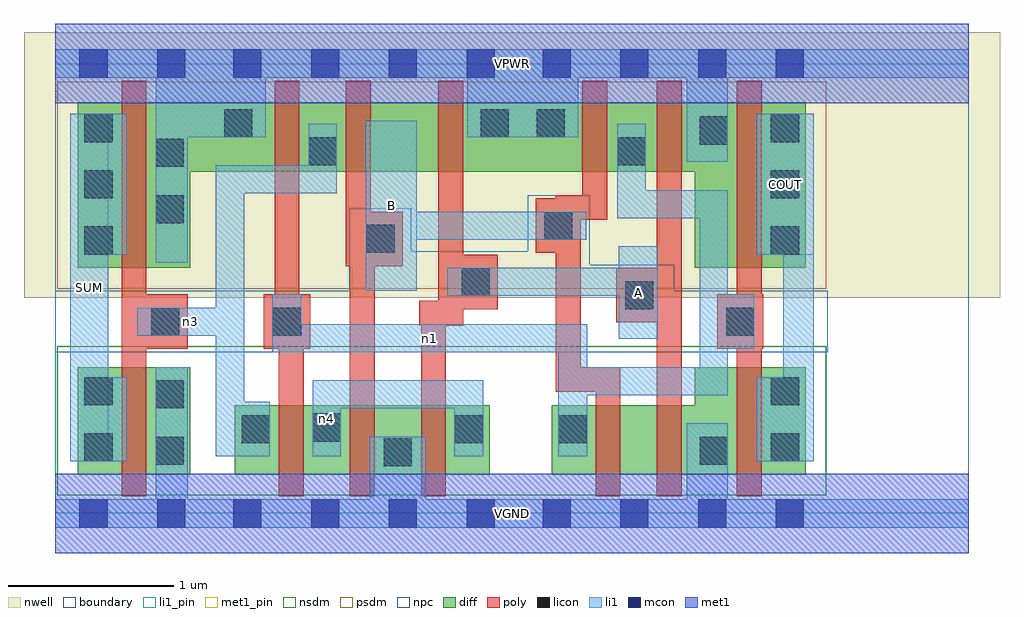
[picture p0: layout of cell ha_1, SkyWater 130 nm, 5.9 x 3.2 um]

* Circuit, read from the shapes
.subckt ha_1 A B COUT SUM VGND VPWR n1 n3 n4
XM1 VGND n3 SUM VSUBS sky130_fd_pr__nfet_01v8 w=0.65 l=0.15
XM2 n4 n1 n3 VSUBS sky130_fd_pr__nfet_01v8 w=0.42 l=0.15
XM3 VGND B n4 VSUBS sky130_fd_pr__nfet_01v8 w=0.42 l=0.15
XM4 n4 A VGND VSUBS sky130_fd_pr__nfet_01v8 w=0.42 l=0.15
XM5 n2 B n1 VSUBS sky130_fd_pr__nfet_01v8 w=0.42 l=0.15
XM6 VGND A n2 VSUBS sky130_fd_pr__nfet_01v8 w=0.42 l=0.15
XM7 COUT n1 VGND VSUBS sky130_fd_pr__nfet_01v8 w=0.65 l=0.15
XM8 VPWR n3 SUM n5 sky130_fd_pr__pfet_01v8 w=1 l=0.15
XM9 n3 n1 VPWR n5 sky130_fd_pr__pfet_01v8 w=0.42 l=0.15
XM10 n6 B n3 n5 sky130_fd_pr__pfet_01v8 w=0.42 l=0.15
XM11 VPWR A n6 n5 sky130_fd_pr__pfet_01v8 w=0.42 l=0.15
XM12 n1 B VPWR n5 sky130_fd_pr__pfet_01v8 w=0.42 l=0.15
XM13 VPWR A n1 n5 sky130_fd_pr__pfet_01v8 w=0.42 l=0.15
XM14 COUT n1 VPWR n5 sky130_fd_pr__pfet_01v8 w=1 l=0.15
.ends

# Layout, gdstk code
import gdstk
lib = gdstk.Library(unit=1e-6, precision=1e-09)
def R(c, l, rs):  # rectangles x0, y0, x1, y1
    for r in rs: c.add(gdstk.rectangle(r[:2], r[2:], *l))
def A(c, l, x, y, w, h, nx, ny, dx, dy):  # array of equal rectangles
    R(c, l, [(x+i*dx, y+j*dy, x+i*dx+w, y+j*dy+h) for i in range(nx) for j in range(ny)])
nwell = (64, 20)
diff = (65, 20)
poly = (66, 20)
licon = (66, 44)
li1_pin = (67, 16)
li1 = (67, 20)
mcon = (67, 44)
met1_pin = (68, 16)
met1 = (68, 20)
nsdm = (93, 44)
psdm = (94, 20)
npc = (95, 20)
boundary = (235, 4)

ha_1 = lib.new_cell('ha_1')
R(ha_1, nwell, [(-0.19,1.305,5.71,2.91), (0,1.305,5.52,2.91)])
R(ha_1, diff, [(0.135,0.235,0.815,0.885), (1.085,0.235,2.625,0.655), (3,0.235,4.535,0.655), (3.865,0.235,4.535,0.885), (0.135,1.485,0.815,2.485), (3.865,1.485,4.535,2.485), (0.135,2.065,4.535,2.485)])
R(ha_1, poly, [(0.4,0.105,0.55,2.615), (1.35,0.105,1.5,1.325), (1.78,0.105,1.93,1.825), (2.21,0.105,2.36,1.285), (3.265,0.105,3.415,0.885), (3.635,0.105,3.785,2.615), (4.12,0.105,4.27,2.615), (3.025,0.735,3.175,1.925), (3.025,0.735,3.415,0.885), (0.4,0.995,0.8,1.325), (1.26,0.995,1.54,1.325), (1.325,0.995,1.475,2.615), (4,0.995,4.28,1.325), (2.2,1.135,2.465,1.285), (2.315,1.135,2.465,2.615), (3.39,1.155,3.785,1.485), (2.315,1.235,2.675,1.565), (1.755,1.495,1.905,2.615), (1.755,1.495,2.1,1.825), (2.905,1.575,3.175,1.905), (3.025,1.775,3.335,1.925), (3.185,1.775,3.335,2.615)])
A(ha_1, licon, 0.175, 1.565, 0.17, 0.17, 1, 3, 0, 0.34)
A(ha_1, licon, 4.325, 1.565, 0.17, 0.17, 1, 3, 0, 0.34)
R(ha_1, licon, [(1.985,0.285,2.155,0.455), (0.605,0.295,0.775,0.465), (3.895,0.295,4.065,0.465), (0.175,0.315,0.345,0.485), (4.325,0.315,4.495,0.485), (1.125,0.425,1.295,0.595), (2.415,0.425,2.585,0.595), (3.04,0.425,3.21,0.595), (1.555,0.435,1.725,0.605), (0.605,0.635,0.775,0.805), (0.175,0.655,0.345,0.825), (4.325,0.655,4.495,0.825), (0.58,1.075,0.75,1.245), (1.315,1.075,1.485,1.245), (4.055,1.075,4.225,1.245), (3.445,1.235,3.615,1.405), (2.455,1.315,2.625,1.485), (1.88,1.575,2.05,1.745), (2.955,1.655,3.125,1.825), (0.605,1.755,0.775,1.925), (0.605,2.095,0.775,2.265), (1.53,2.105,1.7,2.275), (3.4,2.105,3.57,2.275), (3.895,2.23,4.065,2.4), (1.02,2.275,1.19,2.445), (2.57,2.275,2.74,2.445), (2.91,2.275,3.08,2.445)])
R(ha_1, li1_pin, [(0.09,0.315,0.32,2.415), (3.405,1.055,3.64,1.615), (1.875,1.345,2.185,2.375), (4.24,1.565,4.585,2.415)])
R(ha_1, li1, [(0,-0.085,5.52,0.085), (0.605,-0.085,0.8,0.885), (1.9,-0.085,2.24,0.465), (3.815,-0.085,4.065,0.545), (0.09,0.315,0.32,2.415), (0.09,0.315,0.43,0.825), (4.24,0.315,4.585,0.825), (4.4,0.315,4.585,2.415), (0.97,0.345,1.14,2.105), (0.97,0.345,1.295,0.675), (1.555,0.345,1.725,0.805), (2.41,0.345,2.585,0.805), (3.04,0.345,3.215,1.145), (1.555,0.635,2.585,0.805), (3.04,0.715,4.065,0.885), (3.895,0.715,4.065,1.955), (1.31,0.975,3.215,1.145), (1.31,0.975,1.485,1.325), (3.895,0.995,4.225,1.325), (3.405,1.055,3.64,1.615), (0.495,1.075,1.14,1.245), (2.37,1.315,3.64,1.485), (1.875,1.345,2.185,2.375), (0.605,1.515,0.8,2.805), (0.09,1.565,0.43,2.415), (4.24,1.565,4.585,2.415), (1.875,1.655,3.21,1.825), (3.395,1.785,3.57,2.355), (3.395,1.785,4.065,1.955), (0.97,1.935,1.7,2.105), (1.53,1.935,1.7,2.355), (3.815,2.125,4.065,2.805), (0.605,2.275,1.27,2.805), (2.49,2.275,3.16,2.805), (0,2.635,5.52,2.805)])
A(ha_1, mcon, 1.075, -0.085, 0.17, 0.17, 4, 2, 0.47, 2.72)
A(ha_1, mcon, 2.945, -0.085, 0.17, 0.17, 4, 2, 0.47, 2.72)
R(ha_1, mcon, [(0.145,-0.085,0.315,0.085), (0.615,-0.085,0.785,0.085), (0.145,2.635,0.315,2.805), (0.615,2.635,0.785,2.805)])
R(ha_1, met1_pin, [(0,-0.24,5.52,0.24), (0,2.48,5.52,2.96)])
R(ha_1, met1, [(0,-0.24,5.52,0.24), (0,2.48,5.52,2.96)])
R(ha_1, nsdm, [(0.01,0.11,4.66,1.01)])
R(ha_1, psdm, [(0.01,1.36,4.66,2.61)])
R(ha_1, npc, [(0,0.975,4.67,1.345), (1.775,0.975,3.23,1.585), (1.775,0.975,2.15,1.845), (1.775,0.975,3.74,1.505), (2.855,0.975,3.23,1.925)])
R(ha_1, boundary, [(0,0,5.52,2.72)])
ha_1.add(gdstk.Label('A', (3.522,1.335), layer=67, texttype=5))
ha_1.add(gdstk.Label('B', (2.03,1.86), layer=67, texttype=5))
ha_1.add(gdstk.Label('COUT', (4.412,1.99), layer=67, texttype=5))
ha_1.add(gdstk.Label('SUM', (0.205,1.365), layer=67, texttype=5))
ha_1.add(gdstk.Label('n4', (1.64,0.575), layer=67, texttype=5))
ha_1.add(gdstk.Label('n3', (0.817,1.16), layer=67, texttype=5))
ha_1.add(gdstk.Label('n1', (2.262,1.06), layer=67, texttype=5))
ha_1.add(gdstk.Label('VPWR', (2.76,2.72), layer=68, texttype=5))
ha_1.add(gdstk.Label('VGND', (2.76,0), layer=68, texttype=5))
ha_1.add(gdstk.Label('A', (3.522,1.335), layer=67, texttype=16))
ha_1.add(gdstk.Label('B', (2.03,1.86), layer=67, texttype=16))
ha_1.add(gdstk.Label('COUT', (4.412,1.99), layer=67, texttype=16))
ha_1.add(gdstk.Label('SUM', (0.205,1.365), layer=67, texttype=16))
ha_1.add(gdstk.Label('VPWR', (2.76,2.72), layer=68, texttype=16))
ha_1.add(gdstk.Label('VGND', (2.76,0), layer=68, texttype=16))

lib.write_gds('ha_1.gds')
